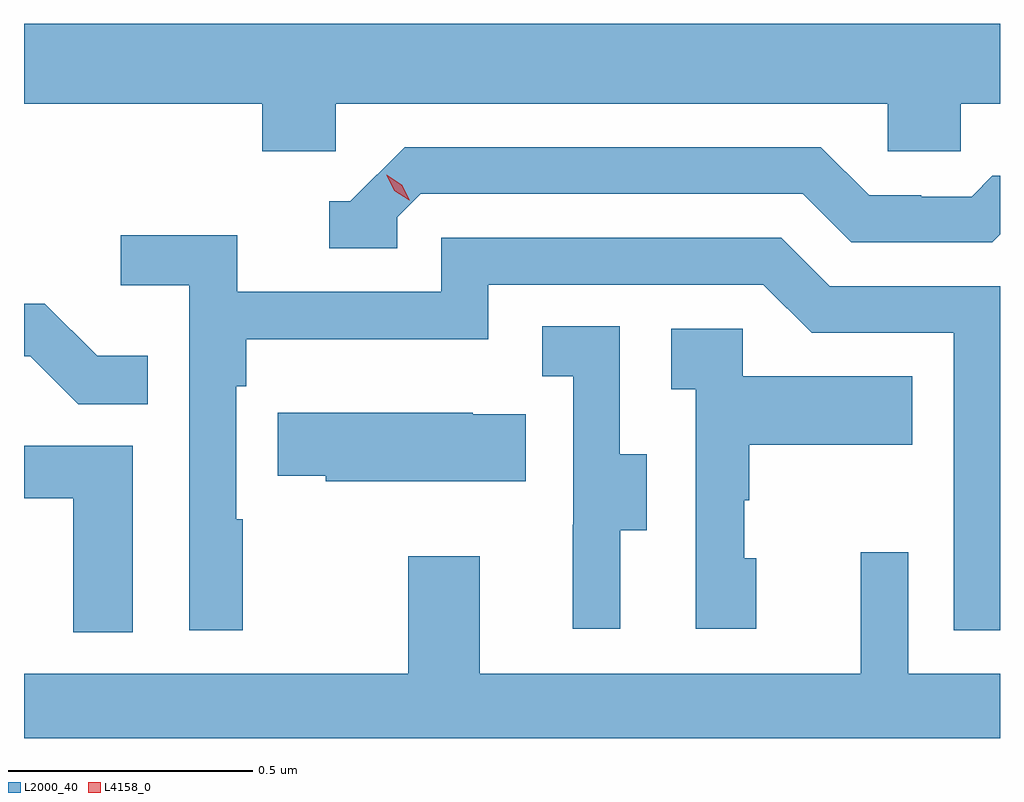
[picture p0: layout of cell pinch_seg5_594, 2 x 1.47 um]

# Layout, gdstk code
import gdstk
lib = gdstk.Library(unit=1e-6, precision=1e-09)
def P(c, l, *ps):  # polygons
    for p in ps: c.add(gdstk.Polygon(p, *l))
L2000_40 = (2000, 40)
L4158_0 = (4158, 0)

pinch_seg5_594 = lib.new_cell('pinch_seg5_594')
P(pinch_seg5_594, L2000_40, [(1131.156,860.756),(1132.287,860.756),(1132.287,860.658),(1132.437,860.658),(1132.437,860.756),(1132.517,860.756),(1132.517,860.92),(1130.517,860.92),(1130.517,860.756),(1131.005,860.756),(1131.005,860.658),(1131.156,860.658)],
  [(1131.282,860.523),(1131.33,860.571),(1132.113,860.571),(1132.212,860.472),(1132.501,860.472),(1132.517,860.488),(1132.517,860.608),(1132.501,860.608),(1132.459,860.565),(1132.356,860.565),(1132.356,860.568),(1132.249,860.568),(1132.15,860.667),(1131.297,860.667),(1131.186,860.556),(1131.143,860.556),(1131.143,860.46),(1131.282,860.46)],
  [(1130.965,859.904),(1130.952,859.904),(1130.952,860.177),(1130.972,860.177),(1130.972,860.273),(1131.468,860.273),(1131.468,860.385),(1132.032,860.385),(1132.131,860.286),(1132.422,860.286),(1132.422,859.677),(1132.517,859.677),(1132.517,860.382),(1132.168,860.382),(1132.069,860.481),(1131.372,860.481),(1131.372,860.37),(1130.954,860.37),(1130.954,860.486),(1130.715,860.486),(1130.715,860.384),(1130.856,860.384),(1130.856,859.677),(1130.965,859.677)],
  [(1130.771,860.239),(1130.667,860.239),(1130.56,860.346),(1130.517,860.346),(1130.517,860.238),(1130.53,860.238),(1130.628,860.14),(1130.771,860.14)],
  [(1131.739,859.882),(1131.793,859.882),(1131.793,860.037),(1131.738,860.037),(1131.738,860.3),(1131.579,860.3),(1131.579,860.197),(1131.642,860.197),(1131.642,859.893),(1131.641,859.893),(1131.641,859.68),(1131.739,859.68)],
  [(1132.018,859.824),(1131.993,859.824),(1131.993,859.943),(1132.003,859.943),(1132.003,860.057),(1132.337,860.057),(1132.337,860.197),(1131.99,860.197),(1131.99,860.295),(1131.843,860.295),(1131.843,860.171),(1131.894,860.171),(1131.894,859.68),(1132.018,859.68)],
  [(1131.545,860.119),(1131.437,860.119),(1131.437,860.122),(1131.037,860.122),(1131.037,859.993),(1131.135,859.993),(1131.135,859.982),(1131.545,859.982)],
  [(1130.74,860.055),(1130.517,860.055),(1130.517,859.947),(1130.618,859.947),(1130.618,859.673),(1130.74,859.673)],
  [(1132.517,859.588),(1132.329,859.588),(1132.329,859.837),(1132.232,859.837),(1132.232,859.588),(1131.451,859.588),(1131.451,859.828),(1131.304,859.828),(1131.304,859.588),(1130.517,859.588),(1130.517,859.455),(1132.517,859.455)])
P(pinch_seg5_594, L4158_0, [(1131.306,860.558),(1131.276,860.577),(1131.26,860.609),(1131.26,860.61),(1131.26,860.61),(1131.291,860.59),(1131.307,860.558),(1131.307,860.558)])

lib.write_gds('pinch_seg5_594.gds')
